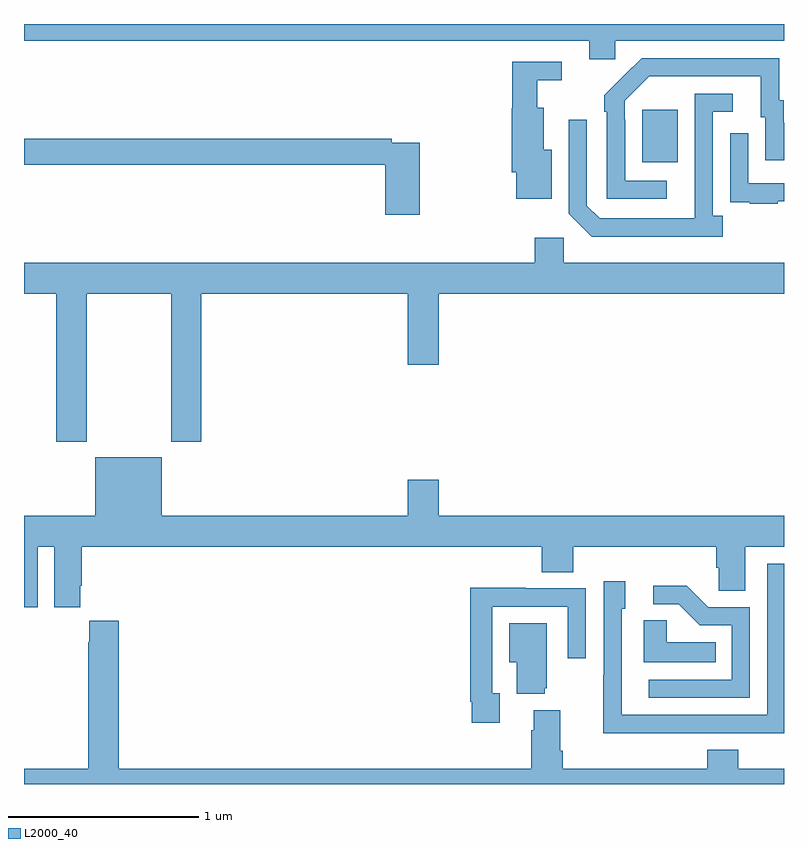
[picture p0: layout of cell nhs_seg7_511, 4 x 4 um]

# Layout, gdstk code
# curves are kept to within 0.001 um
import gdstk
lib = gdstk.Library(unit=1e-6, precision=1e-09)
def R(c, l, rs):  # rectangles x0, y0, x1, y1
    for r in rs: c.add(gdstk.rectangle(r[:2], r[2:], *l))
def P(c, l, *ps):  # polygons
    for p in ps: c.add(gdstk.Polygon(p, *l))
L2000_40 = (2000, 40)

nhs_seg7_511 = lib.new_cell('nhs_seg7_511')
R(nhs_seg7_511, L2000_40, [(154.253,1037.273,154.441,1037.548)])
P(nhs_seg7_511, L2000_40, [(154.113,1037.912),(155,1037.912),(155,1038),(151,1038),(151,1037.912),(153.974,1037.912),(153.974,1037.814),(154.113,1037.814)],
  [(154.384,1037.175),(154.164,1037.175),(154.164,1037.495),(154.161,1037.495),(154.161,1037.595),(154.29,1037.724),(154.877,1037.724),(154.877,1037.508),(154.901,1037.508),(154.901,1037.283),(155,1037.283),(154.999,1037.598),(154.974,1037.598),(154.974,1037.82),(154.25,1037.82),(154.053,1037.625),(154.053,1037.537),(154.068,1037.537),(154.068,1037.079),(154.384,1037.079)],
  [(153.778,1037.338),(153.736,1037.338),(153.736,1037.56),(153.7,1037.56),(153.7,1037.705),(153.829,1037.705),(153.829,1037.802),(153.571,1037.802),(153.571,1037.556),(153.566,1037.556),(153.566,1037.22),(153.59,1037.22),(153.59,1037.081),(153.778,1037.081)],
  [(154.678,1036.99),(154.626,1036.99),(154.626,1037.538),(154.729,1037.538),(154.729,1037.634),(154.53,1037.634),(154.529,1036.977),(154.029,1036.977),(153.963,1037.043),(153.963,1037.497),(153.867,1037.497),(153.867,1037.001),(153.988,1036.88),(154.678,1036.88)],
  [(154.967,1037.067),(155,1037.067),(155,1037.163),(154.812,1037.163),(154.812,1037.425),(154.716,1037.425),(154.716,1037.17),(154.717,1037.17),(154.717,1037.061),(154.819,1037.061),(154.819,1037.055),(154.967,1037.055)],
  [(153.083,1037.376),(152.936,1037.376),(152.936,1037.396),(151,1037.396),(151,1037.26),(152.9,1037.26),(152.9,1036.995),(153.083,1036.995)],
  [(151.329,1036.58),(151.774,1036.58),(151.774,1035.801),(151.934,1035.801),(151.934,1036.58),(153.02,1036.58),(153.02,1036.206),(153.184,1036.206),(153.184,1036.58),(155,1036.58),(155,1036.744),(153.84,1036.744),(153.84,1036.876),(153.689,1036.876),(153.689,1036.744),(151,1036.744),(151,1036.58),(151.169,1036.58),(151.169,1035.801),(151.329,1035.801)],
  [(151.072,1035.248),(151.16,1035.248),(151.16,1034.93),(151.297,1034.93),(151.297,1035.043),(151.304,1035.043),(151.304,1035.248),(153.725,1035.248),(153.725,1035.115),(153.89,1035.115),(153.89,1035.248),(154.643,1035.248),(154.643,1035.139),(154.656,1035.139),(154.656,1035.016),(154.795,1035.016),(154.795,1035.248),(155,1035.248),(155,1035.412),(153.184,1035.412),(153.184,1035.601),(153.02,1035.601),(153.02,1035.412),(151.726,1035.412),(151.726,1035.721),(151.376,1035.721),(151.376,1035.412),(151,1035.412),(151,1034.93),(151.072,1034.93)],
  [(154.511,1034.268),(155,1034.268),(155,1035.159),(154.911,1035.159),(154.911,1034.364),(154.146,1034.364),(154.146,1034.922),(154.165,1034.922),(154.165,1035.067),(154.05,1035.067),(154.05,1034.573),(154.048,1034.573),(154.048,1034.267),(154.511,1034.267)],
  [(154.821,1034.931),(154.602,1034.931),(154.489,1035.044),(154.311,1035.044),(154.311,1034.946),(154.445,1034.946),(154.556,1034.835),(154.725,1034.835),(154.725,1034.55),(154.287,1034.55),(154.287,1034.454),(154.821,1034.454)],
  [(153.505,1034.478),(153.465,1034.478),(153.465,1034.934),(153.861,1034.934),(153.861,1034.661),(153.957,1034.661),(153.957,1035.03),(153.641,1035.03),(153.641,1035.032),(153.349,1035.032),(153.349,1034.434),(153.357,1034.434),(153.357,1034.322),(153.505,1034.322)],
  [(154.64,1034.746),(154.383,1034.746),(154.383,1034.861),(154.262,1034.861),(154.262,1034.642),(154.64,1034.642)],
  [(155,1034.08),(154.76,1034.08),(154.76,1034.179),(154.595,1034.179),(154.595,1034.08),(153.836,1034.08),(153.836,1034.176),(153.823,1034.176),(153.823,1034.389),(153.683,1034.389),(153.683,1034.282),(153.671,1034.282),(153.671,1034.08),(151.499,1034.08),(151.499,1034.86),(151.343,1034.86),(151.343,1034.747),(151.339,1034.747),(151.339,1034.08),(151,1034.08),(151,1034),(155,1034)],
  [(153.74,1034.505),(153.751,1034.505),(153.751,1034.845),(153.554,1034.845),(153.554,1034.642),(153.593,1034.642),(153.593,1034.474),(153.74,1034.474)])

lib.write_gds('nhs_seg7_511.gds')
